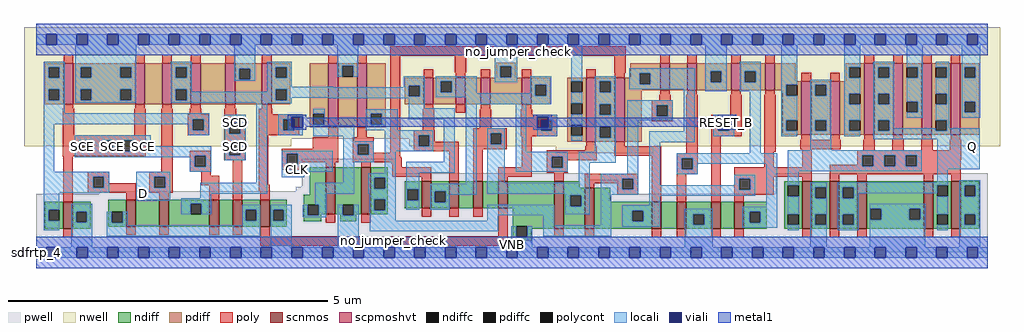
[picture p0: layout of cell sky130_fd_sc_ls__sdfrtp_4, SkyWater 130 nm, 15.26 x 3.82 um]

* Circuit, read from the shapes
.subckt sky130_fd_sc_ls__sdfrtp_4 CLK D RESET_B SCD SCE VGND VNB VPB VPWR Q
XM1 VGND SCE n1 VNB sky130_fd_pr__nfet_01v8 w=0.42 l=0.15
XM2 n2 n1 n3 VNB sky130_fd_pr__nfet_01v8 w=0.42 l=0.15
XM3 n4 D n2 VNB sky130_fd_pr__nfet_01v8 w=0.42 l=0.15
XM4 n5 SCE n4 VNB sky130_fd_pr__nfet_01v8 w=0.42 l=0.15
XM5 n3 SCD n5 VNB sky130_fd_pr__nfet_01v8 w=0.42 l=0.15
XM6 VGND RESET_B n3 VNB sky130_fd_pr__nfet_01v8 w=0.42 l=0.15
XM7 VGND CLK n6 VNB sky130_fd_pr__nfet_01v8 w=0.74 l=0.15
XM8 n7 n6 VGND VNB sky130_fd_pr__nfet_01v8 w=0.74 l=0.15
XM9 n8 n6 n4 VNB sky130_fd_pr__nfet_01v8 w=0.42 l=0.15
XM10 n9 n7 n8 VNB sky130_fd_pr__nfet_01v8 w=0.42 l=0.15
XM11 n10 n11 n9 VNB sky130_fd_pr__nfet_01v8 w=0.42 l=0.15
XM12 VGND RESET_B n10 VNB sky130_fd_pr__nfet_01v8 w=0.42 l=0.15
XM13 n11 n8 VGND VNB sky130_fd_pr__nfet_01v8 w=0.74 l=0.15
XM14 n12 n7 n11 VNB sky130_fd_pr__nfet_01v8 w=0.64 l=0.15
XM15 n13 n6 n12 VNB sky130_fd_pr__nfet_01v8 w=0.42 l=0.15
XM16 VGND n14 n13 VNB sky130_fd_pr__nfet_01v8 w=0.42 l=0.15
XM17 n15 RESET_B VGND VNB sky130_fd_pr__nfet_01v8 w=0.42 l=0.15
XM18 n14 n12 n15 VNB sky130_fd_pr__nfet_01v8 w=0.42 l=0.15
XM19 VGND n12 n16 VNB sky130_fd_pr__nfet_01v8 w=0.74 l=0.15
XM20 Q n16 VGND VNB sky130_fd_pr__nfet_01v8 w=0.74 l=0.15 m=4
XM21 VPWR SCE n1 VPB sky130_fd_pr__pfet_01v8_hvt w=0.64 l=0.15
XM22 n17 SCE VPWR VPB sky130_fd_pr__pfet_01v8_hvt w=0.64 l=0.15
XM23 n4 D n17 VPB sky130_fd_pr__pfet_01v8_hvt w=0.64 l=0.15
XM24 n18 n1 n4 VPB sky130_fd_pr__pfet_01v8_hvt w=0.64 l=0.15
XM25 VPWR SCD n18 VPB sky130_fd_pr__pfet_01v8_hvt w=0.64 l=0.15
XM26 n4 RESET_B VPWR VPB sky130_fd_pr__pfet_01v8_hvt w=0.64 l=0.15
XM27 VPWR CLK n6 VPB sky130_fd_pr__pfet_01v8_hvt w=1 l=0.15
XM28 n7 n6 VPWR VPB sky130_fd_pr__pfet_01v8_hvt w=1 l=0.15
XM29 n8 n7 n4 VPB sky130_fd_pr__pfet_01v8_hvt w=0.42 l=0.15
XM30 n19 n6 n8 VPB sky130_fd_pr__pfet_01v8_hvt w=0.42 l=0.15
XM31 VPWR n11 n19 VPB sky130_fd_pr__pfet_01v8_hvt w=0.42 l=0.15
XM32 n8 RESET_B VPWR VPB sky130_fd_pr__pfet_01v8_hvt w=0.42 l=0.15
XM33 n11 n8 VPWR VPB sky130_fd_pr__pfet_01v8_hvt w=1 l=0.15
XM34 n12 n6 n11 VPB sky130_fd_pr__pfet_01v8_hvt w=1 l=0.15
XM35 n20 n7 n12 VPB sky130_fd_pr__pfet_01v8_hvt w=0.42 l=0.15
XM36 VPWR n14 n20 VPB sky130_fd_pr__pfet_01v8_hvt w=0.42 l=0.15
XM37 n14 RESET_B VPWR VPB sky130_fd_pr__pfet_01v8_hvt w=0.42 l=0.15
XM38 VPWR n12 n14 VPB sky130_fd_pr__pfet_01v8_hvt w=0.42 l=0.15
XM39 n16 n12 VPWR VPB sky130_fd_pr__pfet_01v8_hvt w=0.84 l=0.15 m=2
XM40 Q n16 VPWR VPB sky130_fd_pr__pfet_01v8_hvt w=1.12 l=0.15 m=4
.ends

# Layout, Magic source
magic
tech sky130A
magscale 1 2
<< nwell >>
rect -38 356 3014 704
rect -38 332 797 356
rect 1167 332 3014 356
rect 1625 311 1929 332
<< pwell >>
rect 830 248 1125 293
rect 830 228 1726 248
rect 830 206 1821 228
rect 811 191 1821 206
rect 199 184 1821 191
rect 2313 184 2975 248
rect 1 49 2975 184
rect 0 0 2976 49
<< scnmos >>
rect 84 74 114 158
rect 282 81 312 165
rect 385 81 415 165
rect 542 81 572 165
rect 614 81 644 165
rect 700 81 730 165
rect 906 119 936 267
rect 1016 119 1046 267
rect 1206 138 1236 222
rect 1292 138 1322 222
rect 1367 138 1397 222
rect 1445 138 1475 222
rect 1620 74 1650 222
rect 1715 74 1745 202
rect 1925 74 1955 158
rect 2003 74 2033 158
rect 2111 74 2141 158
rect 2183 74 2213 158
rect 2396 74 2426 222
rect 2482 74 2512 222
rect 2568 74 2598 222
rect 2776 74 2806 222
rect 2862 74 2892 222
<< scpmoshvt >>
rect 86 464 116 592
rect 310 464 340 592
rect 394 464 424 592
rect 484 464 514 592
rect 592 464 622 592
rect 706 464 736 592
rect 914 392 944 592
rect 1004 392 1034 592
rect 1212 463 1242 547
rect 1312 463 1342 547
rect 1390 463 1420 547
rect 1518 463 1548 547
rect 1720 347 1750 547
rect 1810 347 1840 547
rect 1952 508 1982 592
rect 2036 508 2066 592
rect 2173 508 2203 592
rect 2280 508 2310 592
rect 2393 368 2423 536
rect 2483 368 2513 536
rect 2590 368 2620 592
rect 2680 368 2710 592
rect 2770 368 2800 592
rect 2860 368 2890 592
<< ndiff >>
rect 856 180 906 267
rect 27 133 84 158
rect 27 99 39 133
rect 73 99 84 133
rect 27 74 84 99
rect 114 128 171 158
rect 114 94 125 128
rect 159 94 171 128
rect 114 74 171 94
rect 225 127 282 165
rect 225 93 237 127
rect 271 93 282 127
rect 225 81 282 93
rect 312 81 385 165
rect 415 153 542 165
rect 415 119 483 153
rect 517 119 542 153
rect 415 81 542 119
rect 572 81 614 165
rect 644 134 700 165
rect 644 100 655 134
rect 689 100 700 134
rect 644 81 700 100
rect 730 134 783 165
rect 730 100 741 134
rect 775 100 783 134
rect 730 81 783 100
rect 837 150 906 180
rect 837 116 849 150
rect 883 119 906 150
rect 936 150 1016 267
rect 936 119 959 150
rect 883 116 891 119
rect 837 98 891 116
rect 951 116 959 119
rect 993 119 1016 150
rect 1046 234 1099 267
rect 1046 200 1057 234
rect 1091 200 1099 234
rect 1046 166 1099 200
rect 1046 132 1057 166
rect 1091 132 1099 166
rect 1153 197 1206 222
rect 1153 163 1161 197
rect 1195 163 1206 197
rect 1153 138 1206 163
rect 1236 191 1292 222
rect 1236 157 1247 191
rect 1281 157 1292 191
rect 1236 138 1292 157
rect 1322 138 1367 222
rect 1397 138 1445 222
rect 1475 138 1620 222
rect 1046 119 1099 132
rect 993 116 1001 119
rect 951 98 1001 116
rect 1490 82 1620 138
rect 1490 48 1502 82
rect 1536 74 1620 82
rect 1650 202 1700 222
rect 1650 179 1715 202
rect 1650 145 1670 179
rect 1704 145 1715 179
rect 1650 74 1715 145
rect 1745 158 1795 202
rect 2339 210 2396 222
rect 2339 176 2351 210
rect 2385 176 2396 210
rect 1745 131 1925 158
rect 1745 97 1864 131
rect 1898 97 1925 131
rect 1745 74 1925 97
rect 1955 74 2003 158
rect 2033 120 2111 158
rect 2033 86 2055 120
rect 2089 86 2111 120
rect 2033 74 2111 86
rect 2141 74 2183 158
rect 2213 127 2285 158
rect 2213 93 2231 127
rect 2265 93 2285 127
rect 2213 74 2285 93
rect 2339 120 2396 176
rect 2339 86 2351 120
rect 2385 86 2396 120
rect 2339 74 2396 86
rect 2426 204 2482 222
rect 2426 170 2437 204
rect 2471 170 2482 204
rect 2426 120 2482 170
rect 2426 86 2437 120
rect 2471 86 2482 120
rect 2426 74 2482 86
rect 2512 204 2568 222
rect 2512 170 2523 204
rect 2557 170 2568 204
rect 2512 120 2568 170
rect 2512 86 2523 120
rect 2557 86 2568 120
rect 2512 74 2568 86
rect 2598 136 2776 222
rect 2598 102 2609 136
rect 2643 102 2731 136
rect 2765 102 2776 136
rect 2598 74 2776 102
rect 2806 210 2862 222
rect 2806 176 2817 210
rect 2851 176 2862 210
rect 2806 120 2862 176
rect 2806 86 2817 120
rect 2851 86 2862 120
rect 2806 74 2862 86
rect 2892 210 2949 222
rect 2892 176 2903 210
rect 2937 176 2949 210
rect 2892 120 2949 176
rect 2892 86 2903 120
rect 2937 86 2949 120
rect 2892 74 2949 86
rect 1536 48 1548 74
rect 1490 36 1548 48
<< pdiff >>
rect 27 580 86 592
rect 27 546 39 580
rect 73 546 86 580
rect 27 510 86 546
rect 27 476 39 510
rect 73 476 86 510
rect 27 464 86 476
rect 116 580 310 592
rect 116 546 139 580
rect 173 546 263 580
rect 297 546 310 580
rect 116 510 310 546
rect 116 476 139 510
rect 173 476 263 510
rect 297 476 310 510
rect 116 464 310 476
rect 340 464 394 592
rect 424 580 484 592
rect 424 546 437 580
rect 471 546 484 580
rect 424 510 484 546
rect 424 476 437 510
rect 471 476 484 510
rect 424 464 484 476
rect 514 464 592 592
rect 622 575 706 592
rect 622 541 635 575
rect 669 541 706 575
rect 622 464 706 541
rect 736 580 795 592
rect 736 546 749 580
rect 783 546 795 580
rect 736 510 795 546
rect 736 476 749 510
rect 783 476 795 510
rect 736 464 795 476
rect 855 434 914 592
rect 855 400 867 434
rect 901 400 914 434
rect 855 392 914 400
rect 944 584 1004 592
rect 944 550 957 584
rect 991 550 1004 584
rect 944 392 1004 550
rect 1034 434 1093 592
rect 1034 400 1047 434
rect 1081 400 1093 434
rect 1034 392 1093 400
rect 1438 582 1500 594
rect 1438 548 1452 582
rect 1486 548 1500 582
rect 1438 547 1500 548
rect 1858 560 1952 592
rect 1858 547 1887 560
rect 1153 522 1212 547
rect 1153 488 1165 522
rect 1199 488 1212 522
rect 1153 463 1212 488
rect 1242 535 1312 547
rect 1242 501 1265 535
rect 1299 501 1312 535
rect 1242 463 1312 501
rect 1342 463 1390 547
rect 1420 463 1518 547
rect 1548 524 1607 547
rect 1548 490 1561 524
rect 1595 490 1607 524
rect 1548 463 1607 490
rect 1661 535 1720 547
rect 1661 501 1673 535
rect 1707 501 1720 535
rect 1661 467 1720 501
rect 1661 433 1673 467
rect 1707 433 1720 467
rect 1661 399 1720 433
rect 1661 365 1673 399
rect 1707 365 1720 399
rect 1661 347 1720 365
rect 1750 535 1810 547
rect 1750 501 1763 535
rect 1797 501 1810 535
rect 1750 464 1810 501
rect 1750 430 1763 464
rect 1797 430 1810 464
rect 1750 393 1810 430
rect 1750 359 1763 393
rect 1797 359 1810 393
rect 1750 347 1810 359
rect 1840 526 1887 547
rect 1921 526 1952 560
rect 1840 508 1952 526
rect 1982 508 2036 592
rect 2066 567 2173 592
rect 2066 533 2109 567
rect 2143 533 2173 567
rect 2066 508 2173 533
rect 2203 567 2280 592
rect 2203 533 2216 567
rect 2250 533 2280 567
rect 2203 508 2280 533
rect 2310 536 2375 592
rect 2531 580 2590 592
rect 2531 546 2543 580
rect 2577 546 2590 580
rect 2531 536 2590 546
rect 2310 524 2393 536
rect 2310 508 2346 524
rect 1840 347 1893 508
rect 2333 490 2346 508
rect 2380 490 2393 524
rect 2333 414 2393 490
rect 2333 380 2346 414
rect 2380 380 2393 414
rect 2333 368 2393 380
rect 2423 524 2483 536
rect 2423 490 2436 524
rect 2470 490 2483 524
rect 2423 414 2483 490
rect 2423 380 2436 414
rect 2470 380 2483 414
rect 2423 368 2483 380
rect 2513 497 2590 536
rect 2513 463 2543 497
rect 2577 463 2590 497
rect 2513 414 2590 463
rect 2513 380 2543 414
rect 2577 380 2590 414
rect 2513 368 2590 380
rect 2620 580 2680 592
rect 2620 546 2633 580
rect 2667 546 2680 580
rect 2620 497 2680 546
rect 2620 463 2633 497
rect 2667 463 2680 497
rect 2620 414 2680 463
rect 2620 380 2633 414
rect 2667 380 2680 414
rect 2620 368 2680 380
rect 2710 580 2770 592
rect 2710 546 2723 580
rect 2757 546 2770 580
rect 2710 472 2770 546
rect 2710 438 2723 472
rect 2757 438 2770 472
rect 2710 368 2770 438
rect 2800 580 2860 592
rect 2800 546 2813 580
rect 2847 546 2860 580
rect 2800 497 2860 546
rect 2800 463 2813 497
rect 2847 463 2860 497
rect 2800 414 2860 463
rect 2800 380 2813 414
rect 2847 380 2860 414
rect 2800 368 2860 380
rect 2890 580 2949 592
rect 2890 546 2903 580
rect 2937 546 2949 580
rect 2890 472 2949 546
rect 2890 438 2903 472
rect 2937 438 2949 472
rect 2890 368 2949 438
<< ndiffc >>
rect 39 99 73 133
rect 125 94 159 128
rect 237 93 271 127
rect 483 119 517 153
rect 655 100 689 134
rect 741 100 775 134
rect 849 116 883 150
rect 959 116 993 150
rect 1057 200 1091 234
rect 1057 132 1091 166
rect 1161 163 1195 197
rect 1247 157 1281 191
rect 1502 48 1536 82
rect 1670 145 1704 179
rect 2351 176 2385 210
rect 1864 97 1898 131
rect 2055 86 2089 120
rect 2231 93 2265 127
rect 2351 86 2385 120
rect 2437 170 2471 204
rect 2437 86 2471 120
rect 2523 170 2557 204
rect 2523 86 2557 120
rect 2609 102 2643 136
rect 2731 102 2765 136
rect 2817 176 2851 210
rect 2817 86 2851 120
rect 2903 176 2937 210
rect 2903 86 2937 120
<< pdiffc >>
rect 39 546 73 580
rect 39 476 73 510
rect 139 546 173 580
rect 263 546 297 580
rect 139 476 173 510
rect 263 476 297 510
rect 437 546 471 580
rect 437 476 471 510
rect 635 541 669 575
rect 749 546 783 580
rect 749 476 783 510
rect 867 400 901 434
rect 957 550 991 584
rect 1047 400 1081 434
rect 1452 548 1486 582
rect 1165 488 1199 522
rect 1265 501 1299 535
rect 1561 490 1595 524
rect 1673 501 1707 535
rect 1673 433 1707 467
rect 1673 365 1707 399
rect 1763 501 1797 535
rect 1763 430 1797 464
rect 1763 359 1797 393
rect 1887 526 1921 560
rect 2109 533 2143 567
rect 2216 533 2250 567
rect 2543 546 2577 580
rect 2346 490 2380 524
rect 2346 380 2380 414
rect 2436 490 2470 524
rect 2436 380 2470 414
rect 2543 463 2577 497
rect 2543 380 2577 414
rect 2633 546 2667 580
rect 2633 463 2667 497
rect 2633 380 2667 414
rect 2723 546 2757 580
rect 2723 438 2757 472
rect 2813 546 2847 580
rect 2813 463 2847 497
rect 2813 380 2847 414
rect 2903 546 2937 580
rect 2903 438 2937 472
<< poly >>
rect 86 592 116 618
rect 310 592 340 618
rect 394 592 424 618
rect 484 592 514 618
rect 592 592 622 618
rect 706 592 736 618
rect 914 592 944 618
rect 1004 592 1034 618
rect 1108 615 1843 645
rect 86 449 116 464
rect 310 449 340 464
rect 394 449 424 464
rect 484 449 514 464
rect 592 449 622 464
rect 706 449 736 464
rect 83 367 119 449
rect 307 367 343 449
rect 83 351 343 367
rect 83 317 137 351
rect 171 317 205 351
rect 239 317 273 351
rect 307 317 343 351
rect 83 301 343 317
rect 84 158 114 301
rect 391 253 427 449
rect 481 432 517 449
rect 474 416 540 432
rect 474 382 490 416
rect 524 382 540 416
rect 474 366 540 382
rect 588 422 625 449
rect 696 432 739 449
rect 588 406 654 422
rect 588 372 604 406
rect 638 372 654 406
rect 588 338 654 372
rect 162 237 228 253
rect 162 203 178 237
rect 212 217 228 237
rect 354 237 427 253
rect 480 302 546 318
rect 480 268 496 302
rect 530 268 546 302
rect 588 304 604 338
rect 638 304 654 338
rect 588 288 654 304
rect 696 416 823 432
rect 696 382 773 416
rect 807 382 823 416
rect 696 366 823 382
rect 480 252 546 268
rect 212 203 312 217
rect 162 187 312 203
rect 354 203 370 237
rect 404 203 427 237
rect 516 240 546 252
rect 516 210 572 240
rect 354 187 427 203
rect 282 165 312 187
rect 385 165 415 187
rect 542 165 572 210
rect 614 165 644 288
rect 696 212 726 366
rect 914 360 944 392
rect 1004 360 1034 392
rect 865 324 944 360
rect 768 308 944 324
rect 768 274 784 308
rect 818 282 944 308
rect 990 339 1056 360
rect 990 305 1006 339
rect 1040 312 1056 339
rect 1108 312 1138 615
rect 1212 547 1242 573
rect 1309 562 1345 615
rect 1312 547 1342 562
rect 1390 547 1420 573
rect 1518 547 1548 573
rect 1720 547 1750 573
rect 1807 562 1843 615
rect 1952 592 1982 618
rect 2036 592 2066 618
rect 2173 592 2203 618
rect 2280 592 2310 618
rect 2590 592 2620 618
rect 2680 592 2710 618
rect 2770 592 2800 618
rect 2860 592 2890 618
rect 1810 547 1840 562
rect 1212 448 1242 463
rect 1209 383 1245 448
rect 1312 437 1342 463
rect 1390 448 1420 463
rect 1518 448 1548 463
rect 1387 389 1423 448
rect 1515 430 1551 448
rect 1515 414 1629 430
rect 1180 367 1246 383
rect 1180 333 1196 367
rect 1230 347 1246 367
rect 1367 373 1471 389
rect 1230 333 1322 347
rect 1180 317 1322 333
rect 1040 305 1138 312
rect 990 300 1138 305
rect 990 295 1141 300
rect 990 282 1144 295
rect 818 274 834 282
rect 768 258 834 274
rect 906 267 936 282
rect 1016 267 1046 282
rect 1110 278 1144 282
rect 1114 267 1144 278
rect 696 193 730 212
rect 700 165 730 193
rect 906 93 936 119
rect 1114 237 1236 267
rect 1206 222 1236 237
rect 1292 222 1322 317
rect 1367 339 1421 373
rect 1455 339 1471 373
rect 1515 380 1579 414
rect 1613 380 1629 414
rect 1515 364 1629 380
rect 1367 323 1471 339
rect 1367 222 1397 323
rect 1519 267 1549 364
rect 2393 536 2423 562
rect 2483 536 2513 562
rect 1952 493 1982 508
rect 2036 493 2066 508
rect 2173 493 2203 508
rect 2280 493 2310 508
rect 1949 476 1985 493
rect 1925 460 1991 476
rect 1925 426 1941 460
rect 1975 426 1991 460
rect 1925 410 1991 426
rect 1720 332 1750 347
rect 1810 332 1840 347
rect 1717 319 1753 332
rect 1445 237 1549 267
rect 1597 299 1753 319
rect 1807 302 1955 332
rect 2033 311 2069 493
rect 2170 430 2206 493
rect 1597 265 1613 299
rect 1647 289 1753 299
rect 1647 265 1663 289
rect 1597 249 1663 265
rect 1445 222 1475 237
rect 1620 222 1650 249
rect 1715 231 1883 247
rect 1016 93 1046 119
rect 1206 112 1236 138
rect 1292 112 1322 138
rect 1367 112 1397 138
rect 84 48 114 74
rect 282 55 312 81
rect 385 55 415 81
rect 542 55 572 81
rect 614 55 644 81
rect 700 51 730 81
rect 1445 51 1475 138
rect 700 21 1475 51
rect 1715 217 1833 231
rect 1715 202 1745 217
rect 1817 197 1833 217
rect 1867 197 1883 231
rect 1817 181 1883 197
rect 1925 158 1955 302
rect 2003 295 2069 311
rect 2003 261 2019 295
rect 2053 261 2069 295
rect 2003 245 2069 261
rect 2111 414 2206 430
rect 2111 380 2133 414
rect 2167 380 2206 414
rect 2111 364 2206 380
rect 2003 158 2033 245
rect 2111 158 2141 364
rect 2277 315 2313 493
rect 2393 353 2423 368
rect 2483 353 2513 368
rect 2590 353 2620 368
rect 2680 353 2710 368
rect 2770 353 2800 368
rect 2860 353 2890 368
rect 2390 323 2516 353
rect 2277 267 2307 315
rect 2396 267 2426 323
rect 2587 320 2623 353
rect 2677 320 2713 353
rect 2767 320 2803 353
rect 2857 320 2893 353
rect 2568 304 2893 320
rect 2568 275 2584 304
rect 2183 237 2426 267
rect 2183 230 2307 237
rect 2183 196 2199 230
rect 2233 196 2307 230
rect 2396 222 2426 237
rect 2482 270 2584 275
rect 2618 270 2652 304
rect 2686 270 2720 304
rect 2754 290 2893 304
rect 2754 270 2892 290
rect 2482 245 2892 270
rect 2482 222 2512 245
rect 2568 222 2598 245
rect 2776 222 2806 245
rect 2862 222 2892 245
rect 2183 180 2307 196
rect 2183 158 2213 180
rect 1620 48 1650 74
rect 1715 48 1745 74
rect 1925 48 1955 74
rect 2003 48 2033 74
rect 2111 48 2141 74
rect 2183 48 2213 74
rect 2396 48 2426 74
rect 2482 48 2512 74
rect 2568 48 2598 74
rect 2776 48 2806 74
rect 2862 48 2892 74
<< polycont >>
rect 137 317 171 351
rect 205 317 239 351
rect 273 317 307 351
rect 490 382 524 416
rect 604 372 638 406
rect 178 203 212 237
rect 496 268 530 302
rect 604 304 638 338
rect 773 382 807 416
rect 370 203 404 237
rect 784 274 818 308
rect 1006 305 1040 339
rect 1196 333 1230 367
rect 1421 339 1455 373
rect 1579 380 1613 414
rect 1941 426 1975 460
rect 1613 265 1647 299
rect 1833 197 1867 231
rect 2019 261 2053 295
rect 2133 380 2167 414
rect 2199 196 2233 230
rect 2584 270 2618 304
rect 2652 270 2686 304
rect 2720 270 2754 304
<< locali >>
rect 0 649 31 683
rect 65 649 127 683
rect 161 649 223 683
rect 257 649 319 683
rect 353 649 415 683
rect 449 649 511 683
rect 545 649 607 683
rect 641 649 703 683
rect 737 649 799 683
rect 833 649 895 683
rect 929 649 991 683
rect 1025 649 1087 683
rect 1121 649 1183 683
rect 1217 649 1279 683
rect 1313 649 1375 683
rect 1409 649 1471 683
rect 1505 649 1567 683
rect 1601 649 1663 683
rect 1697 649 1759 683
rect 1793 649 1855 683
rect 1889 649 1951 683
rect 1985 649 2047 683
rect 2081 649 2143 683
rect 2177 649 2239 683
rect 2273 649 2335 683
rect 2369 649 2431 683
rect 2465 649 2527 683
rect 2561 649 2623 683
rect 2657 649 2719 683
rect 2753 649 2815 683
rect 2849 649 2911 683
rect 2945 649 2976 683
rect 23 580 89 596
rect 23 546 39 580
rect 73 546 89 580
rect 23 510 89 546
rect 23 476 39 510
rect 73 476 89 510
rect 23 435 89 476
rect 123 580 313 649
rect 123 546 139 580
rect 173 546 263 580
rect 297 546 313 580
rect 123 510 313 546
rect 123 476 139 510
rect 173 476 263 510
rect 297 476 313 510
rect 123 469 313 476
rect 421 580 487 596
rect 421 546 437 580
rect 471 546 487 580
rect 421 510 487 546
rect 619 575 685 649
rect 619 541 635 575
rect 669 541 685 575
rect 619 537 685 541
rect 723 580 799 596
rect 723 546 749 580
rect 783 546 799 580
rect 941 584 1007 649
rect 941 550 957 584
rect 991 550 1007 584
rect 1434 582 1504 649
rect 421 476 437 510
rect 471 503 487 510
rect 723 518 799 546
rect 1149 522 1215 551
rect 723 516 929 518
rect 1149 516 1165 522
rect 723 510 1165 516
rect 723 503 749 510
rect 471 476 749 503
rect 783 488 1165 510
rect 1199 488 1215 522
rect 783 484 1215 488
rect 1249 535 1377 551
rect 1249 501 1265 535
rect 1299 501 1377 535
rect 1434 548 1452 582
rect 1486 548 1504 582
rect 1434 532 1504 548
rect 1249 498 1377 501
rect 1545 524 1611 551
rect 1545 498 1561 524
rect 1249 490 1561 498
rect 1595 490 1611 524
rect 1249 485 1611 490
rect 783 476 799 484
rect 916 482 1215 484
rect 421 469 799 476
rect 689 466 799 469
rect 23 416 541 435
rect 23 401 490 416
rect 23 253 57 401
rect 475 382 490 401
rect 524 382 541 416
rect 121 351 359 367
rect 475 366 541 382
rect 589 406 655 430
rect 589 372 604 406
rect 638 372 655 406
rect 121 317 137 351
rect 171 317 205 351
rect 239 317 273 351
rect 307 332 359 351
rect 589 338 655 372
rect 307 317 547 332
rect 121 302 547 317
rect 121 298 496 302
rect 481 268 496 298
rect 530 268 547 302
rect 589 304 604 338
rect 638 304 655 338
rect 589 288 655 304
rect 23 237 228 253
rect 23 203 178 237
rect 212 203 228 237
rect 23 187 228 203
rect 313 237 420 253
rect 481 252 547 268
rect 313 203 370 237
rect 404 203 420 237
rect 689 218 723 466
rect 1165 451 1215 482
rect 1343 464 1611 485
rect 1673 535 1707 649
rect 1854 560 2059 576
rect 1673 467 1707 501
rect 867 434 903 450
rect 757 424 833 432
rect 757 416 799 424
rect 757 382 773 416
rect 807 382 833 390
rect 757 366 833 382
rect 901 400 903 434
rect 867 398 903 400
rect 1031 434 1131 448
rect 1031 400 1047 434
rect 1081 400 1131 434
rect 1165 417 1309 451
rect 867 364 995 398
rect 1031 383 1131 400
rect 1031 382 1241 383
rect 961 348 995 364
rect 1090 367 1241 382
rect 961 339 1056 348
rect 768 308 927 318
rect 768 274 784 308
rect 818 274 927 308
rect 768 252 927 274
rect 961 305 1006 339
rect 1040 305 1056 339
rect 961 282 1056 305
rect 1090 333 1196 367
rect 1230 333 1241 367
rect 1090 317 1241 333
rect 768 236 839 252
rect 961 218 995 282
rect 1090 248 1124 317
rect 1275 283 1309 417
rect 23 133 73 187
rect 313 162 420 203
rect 513 184 723 218
rect 873 184 995 218
rect 1039 234 1124 248
rect 1039 200 1057 234
rect 1091 200 1124 234
rect 1039 184 1124 200
rect 513 169 547 184
rect 454 153 547 169
rect 23 99 39 133
rect 23 70 73 99
rect 109 128 175 153
rect 109 94 125 128
rect 159 94 175 128
rect 109 17 175 94
rect 221 127 287 128
rect 221 93 237 127
rect 271 93 287 127
rect 454 119 483 153
rect 517 119 547 153
rect 873 150 907 184
rect 1043 166 1124 184
rect 645 134 700 150
rect 221 85 287 93
rect 645 100 655 134
rect 689 100 700 134
rect 645 85 700 100
rect 221 51 700 85
rect 734 134 799 150
rect 734 100 741 134
rect 775 100 799 134
rect 833 116 849 150
rect 883 116 907 150
rect 833 110 907 116
rect 943 116 959 150
rect 993 116 1009 150
rect 734 17 799 100
rect 943 17 1009 116
rect 1043 132 1057 166
rect 1091 132 1124 166
rect 1158 249 1309 283
rect 1158 197 1198 249
rect 1343 215 1377 464
rect 1158 163 1161 197
rect 1195 163 1198 197
rect 1158 134 1198 163
rect 1232 191 1377 215
rect 1232 157 1247 191
rect 1281 181 1377 191
rect 1411 373 1465 389
rect 1411 339 1421 373
rect 1455 339 1465 373
rect 1411 218 1465 339
rect 1499 315 1533 464
rect 1567 424 1629 430
rect 1601 414 1629 424
rect 1567 380 1579 390
rect 1613 380 1629 414
rect 1567 364 1629 380
rect 1673 399 1707 433
rect 1673 349 1707 365
rect 1747 535 1813 551
rect 1747 501 1763 535
rect 1797 501 1813 535
rect 1854 526 1887 560
rect 1921 526 2059 560
rect 1854 510 2059 526
rect 1747 464 1813 501
rect 1747 430 1763 464
rect 1797 430 1813 464
rect 1747 393 1813 430
rect 1747 359 1763 393
rect 1797 359 1813 393
rect 1747 315 1813 359
rect 1499 299 1663 315
rect 1499 265 1613 299
rect 1647 265 1663 299
rect 1499 252 1663 265
rect 1697 281 1813 315
rect 1849 460 1991 476
rect 1849 426 1941 460
rect 1975 426 1991 460
rect 1849 413 1991 426
rect 1697 218 1731 281
rect 1849 247 1883 413
rect 2025 379 2059 510
rect 2093 567 2159 649
rect 2093 533 2109 567
rect 2143 533 2159 567
rect 2093 504 2159 533
rect 2200 567 2266 596
rect 2200 533 2216 567
rect 2250 533 2266 567
rect 2200 504 2266 533
rect 1411 184 1731 218
rect 1281 157 1294 181
rect 1232 134 1294 157
rect 1654 179 1731 184
rect 1043 100 1124 132
rect 1411 116 1620 150
rect 1654 145 1670 179
rect 1704 145 1731 179
rect 1654 119 1731 145
rect 1765 231 1883 247
rect 1765 197 1833 231
rect 1867 197 1883 231
rect 1765 181 1883 197
rect 1917 345 2059 379
rect 2117 424 2183 430
rect 2117 414 2143 424
rect 2117 380 2133 414
rect 2177 390 2183 424
rect 2167 380 2183 390
rect 2117 364 2183 380
rect 1917 211 1951 345
rect 2232 311 2266 504
rect 2330 524 2380 649
rect 2527 580 2577 649
rect 2527 546 2543 580
rect 2330 490 2346 524
rect 2330 414 2380 490
rect 2330 380 2346 414
rect 2330 364 2380 380
rect 2420 524 2486 540
rect 2420 490 2436 524
rect 2470 490 2486 524
rect 2420 414 2486 490
rect 2420 380 2436 414
rect 2470 380 2486 414
rect 2420 320 2486 380
rect 2527 497 2577 546
rect 2527 463 2543 497
rect 2527 414 2577 463
rect 2527 380 2543 414
rect 2527 364 2577 380
rect 2617 580 2683 596
rect 2617 546 2633 580
rect 2667 546 2683 580
rect 2617 497 2683 546
rect 2617 463 2633 497
rect 2667 463 2683 497
rect 2617 414 2683 463
rect 2723 580 2773 649
rect 2757 546 2773 580
rect 2723 472 2773 546
rect 2757 438 2773 472
rect 2723 422 2773 438
rect 2813 580 2856 596
rect 2847 546 2856 580
rect 2813 497 2856 546
rect 2847 463 2856 497
rect 2617 380 2633 414
rect 2667 388 2683 414
rect 2813 414 2856 463
rect 2894 580 2953 649
rect 2894 546 2903 580
rect 2937 546 2953 580
rect 2894 472 2953 546
rect 2894 438 2903 472
rect 2937 438 2953 472
rect 2894 422 2953 438
rect 2667 380 2813 388
rect 2847 388 2856 414
rect 2847 380 2951 388
rect 2617 354 2951 380
rect 2003 295 2317 311
rect 2003 261 2019 295
rect 2053 277 2317 295
rect 2053 261 2069 277
rect 2003 245 2069 261
rect 2183 230 2249 243
rect 2183 211 2199 230
rect 1917 196 2199 211
rect 2233 196 2249 230
rect 1411 100 1445 116
rect 1043 66 1445 100
rect 1586 85 1620 116
rect 1765 85 1799 181
rect 1917 177 2249 196
rect 1917 147 1951 177
rect 1486 48 1502 82
rect 1536 48 1552 82
rect 1586 51 1799 85
rect 1833 131 1951 147
rect 2283 143 2317 277
rect 1833 97 1864 131
rect 1898 97 1951 131
rect 1833 81 1951 97
rect 2028 120 2116 136
rect 2028 86 2055 120
rect 2089 86 2116 120
rect 1486 17 1552 48
rect 2028 17 2116 86
rect 2208 127 2317 143
rect 2208 93 2231 127
rect 2265 93 2317 127
rect 2208 77 2317 93
rect 2351 304 2770 320
rect 2351 270 2584 304
rect 2618 270 2652 304
rect 2686 270 2720 304
rect 2754 270 2770 304
rect 2351 254 2770 270
rect 2817 260 2951 354
rect 2351 210 2385 254
rect 2817 220 2851 260
rect 2351 120 2385 176
rect 2351 70 2385 86
rect 2421 204 2473 220
rect 2421 170 2437 204
rect 2471 170 2473 204
rect 2421 120 2473 170
rect 2421 86 2437 120
rect 2471 86 2473 120
rect 2421 17 2473 86
rect 2507 210 2851 220
rect 2507 204 2817 210
rect 2507 170 2523 204
rect 2557 186 2817 204
rect 2557 170 2573 186
rect 2507 120 2573 170
rect 2507 86 2523 120
rect 2557 86 2573 120
rect 2507 70 2573 86
rect 2607 136 2781 152
rect 2607 102 2609 136
rect 2643 102 2731 136
rect 2765 102 2781 136
rect 2607 17 2781 102
rect 2817 120 2851 176
rect 2817 70 2851 86
rect 2887 210 2953 226
rect 2887 176 2903 210
rect 2937 176 2953 210
rect 2887 120 2953 176
rect 2887 86 2903 120
rect 2937 86 2953 120
rect 2887 17 2953 86
rect 0 -17 31 17
rect 65 -17 127 17
rect 161 -17 223 17
rect 257 -17 319 17
rect 353 -17 415 17
rect 449 -17 511 17
rect 545 -17 607 17
rect 641 -17 703 17
rect 737 -17 799 17
rect 833 -17 895 17
rect 929 -17 991 17
rect 1025 -17 1087 17
rect 1121 -17 1183 17
rect 1217 -17 1279 17
rect 1313 -17 1375 17
rect 1409 -17 1471 17
rect 1505 -17 1567 17
rect 1601 -17 1663 17
rect 1697 -17 1759 17
rect 1793 -17 1855 17
rect 1889 -17 1951 17
rect 1985 -17 2047 17
rect 2081 -17 2143 17
rect 2177 -17 2239 17
rect 2273 -17 2335 17
rect 2369 -17 2431 17
rect 2465 -17 2527 17
rect 2561 -17 2623 17
rect 2657 -17 2719 17
rect 2753 -17 2815 17
rect 2849 -17 2911 17
rect 2945 -17 2976 17
<< viali >>
rect 31 649 65 683
rect 127 649 161 683
rect 223 649 257 683
rect 319 649 353 683
rect 415 649 449 683
rect 511 649 545 683
rect 607 649 641 683
rect 703 649 737 683
rect 799 649 833 683
rect 895 649 929 683
rect 991 649 1025 683
rect 1087 649 1121 683
rect 1183 649 1217 683
rect 1279 649 1313 683
rect 1375 649 1409 683
rect 1471 649 1505 683
rect 1567 649 1601 683
rect 1663 649 1697 683
rect 1759 649 1793 683
rect 1855 649 1889 683
rect 1951 649 1985 683
rect 2047 649 2081 683
rect 2143 649 2177 683
rect 2239 649 2273 683
rect 2335 649 2369 683
rect 2431 649 2465 683
rect 2527 649 2561 683
rect 2623 649 2657 683
rect 2719 649 2753 683
rect 2815 649 2849 683
rect 2911 649 2945 683
rect 799 416 833 424
rect 799 390 807 416
rect 807 390 833 416
rect 1567 414 1601 424
rect 1567 390 1579 414
rect 1579 390 1601 414
rect 2143 414 2177 424
rect 2143 390 2167 414
rect 2167 390 2177 414
rect 31 -17 65 17
rect 127 -17 161 17
rect 223 -17 257 17
rect 319 -17 353 17
rect 415 -17 449 17
rect 511 -17 545 17
rect 607 -17 641 17
rect 703 -17 737 17
rect 799 -17 833 17
rect 895 -17 929 17
rect 991 -17 1025 17
rect 1087 -17 1121 17
rect 1183 -17 1217 17
rect 1279 -17 1313 17
rect 1375 -17 1409 17
rect 1471 -17 1505 17
rect 1567 -17 1601 17
rect 1663 -17 1697 17
rect 1759 -17 1793 17
rect 1855 -17 1889 17
rect 1951 -17 1985 17
rect 2047 -17 2081 17
rect 2143 -17 2177 17
rect 2239 -17 2273 17
rect 2335 -17 2369 17
rect 2431 -17 2465 17
rect 2527 -17 2561 17
rect 2623 -17 2657 17
rect 2719 -17 2753 17
rect 2815 -17 2849 17
rect 2911 -17 2945 17
<< metal1 >>
rect 0 683 2976 715
rect 0 649 31 683
rect 65 649 127 683
rect 161 649 223 683
rect 257 649 319 683
rect 353 649 415 683
rect 449 649 511 683
rect 545 649 607 683
rect 641 649 703 683
rect 737 649 799 683
rect 833 649 895 683
rect 929 649 991 683
rect 1025 649 1087 683
rect 1121 649 1183 683
rect 1217 649 1279 683
rect 1313 649 1375 683
rect 1409 649 1471 683
rect 1505 649 1567 683
rect 1601 649 1663 683
rect 1697 649 1759 683
rect 1793 649 1855 683
rect 1889 649 1951 683
rect 1985 649 2047 683
rect 2081 649 2143 683
rect 2177 649 2239 683
rect 2273 649 2335 683
rect 2369 649 2431 683
rect 2465 649 2527 683
rect 2561 649 2623 683
rect 2657 649 2719 683
rect 2753 649 2815 683
rect 2849 649 2911 683
rect 2945 649 2976 683
rect 0 617 2976 649
rect 787 424 845 430
rect 787 390 799 424
rect 833 421 845 424
rect 1555 424 1613 430
rect 1555 421 1567 424
rect 833 393 1567 421
rect 833 390 845 393
rect 787 384 845 390
rect 1555 390 1567 393
rect 1601 421 1613 424
rect 2131 424 2189 430
rect 2131 421 2143 424
rect 1601 393 2143 421
rect 1601 390 1613 393
rect 1555 384 1613 390
rect 2131 390 2143 393
rect 2177 390 2189 424
rect 2131 384 2189 390
rect 0 17 2976 49
rect 0 -17 31 17
rect 65 -17 127 17
rect 161 -17 223 17
rect 257 -17 319 17
rect 353 -17 415 17
rect 449 -17 511 17
rect 545 -17 607 17
rect 641 -17 703 17
rect 737 -17 799 17
rect 833 -17 895 17
rect 929 -17 991 17
rect 1025 -17 1087 17
rect 1121 -17 1183 17
rect 1217 -17 1279 17
rect 1313 -17 1375 17
rect 1409 -17 1471 17
rect 1505 -17 1567 17
rect 1601 -17 1663 17
rect 1697 -17 1759 17
rect 1793 -17 1855 17
rect 1889 -17 1951 17
rect 1985 -17 2047 17
rect 2081 -17 2143 17
rect 2177 -17 2239 17
rect 2273 -17 2335 17
rect 2369 -17 2431 17
rect 2465 -17 2527 17
rect 2561 -17 2623 17
rect 2657 -17 2719 17
rect 2753 -17 2815 17
rect 2849 -17 2911 17
rect 2945 -17 2976 17
rect 0 -49 2976 -17
<< labels >>
rlabel comment s 0 0 0 0 4 sdfrtp_4
flabel comment s 1507 630 1507 630 0 FreeSans 300 0 0 0 no_jumper_check
flabel comment s 1119 36 1119 36 0 FreeSans 300 0 0 0 no_jumper_check
flabel pwell s 0 0 2976 49 0 FreeSans 200 0 0 0 VNB
port 7 nsew ground bidirectional
flabel nwell s 0 617 2976 666 0 FreeSans 200 0 0 0 VPB
port 8 nsew power bidirectional
flabel metal1 s 2143 390 2177 424 0 FreeSans 340 0 0 0 RESET_B
port 3 nsew signal input
flabel metal1 s 0 0 2976 49 0 FreeSans 340 0 0 0 VGND
port 6 nsew ground bidirectional abutment
flabel metal1 s 0 617 2976 666 0 FreeSans 340 0 0 0 VPWR
port 9 nsew power bidirectional abutment
flabel locali s 319 168 353 202 0 FreeSans 340 0 0 0 D
port 2 nsew signal input
flabel locali s 127 316 161 350 0 FreeSans 340 0 0 0 SCE
port 5 nsew signal input
flabel locali s 223 316 257 350 0 FreeSans 340 0 0 0 SCE
port 5 nsew signal input
flabel locali s 319 316 353 350 0 FreeSans 340 0 0 0 SCE
port 5 nsew signal input
flabel locali s 607 316 641 350 0 FreeSans 340 0 0 0 SCD
port 4 nsew signal input
flabel locali s 607 390 641 424 0 FreeSans 340 0 0 0 SCD
port 4 nsew signal input
flabel locali s 799 242 833 276 0 FreeSans 340 0 0 0 CLK
port 1 nsew clock input
flabel locali s 2911 316 2945 350 0 FreeSans 340 0 0 0 Q
port 10 nsew signal output
<< properties >>
string LEFsite unit
string LEFclass CORE
string FIXED_BBOX 0 0 2976 666
string GDS_FILE $PDKPATH/libs.ref/sky130_fd_sc_ls/gds/sky130_fd_sc_ls.gds
string LEFsymmetry X Y R90
string GDS_END 1721550
string GDS_START 1699480
<< end >>
